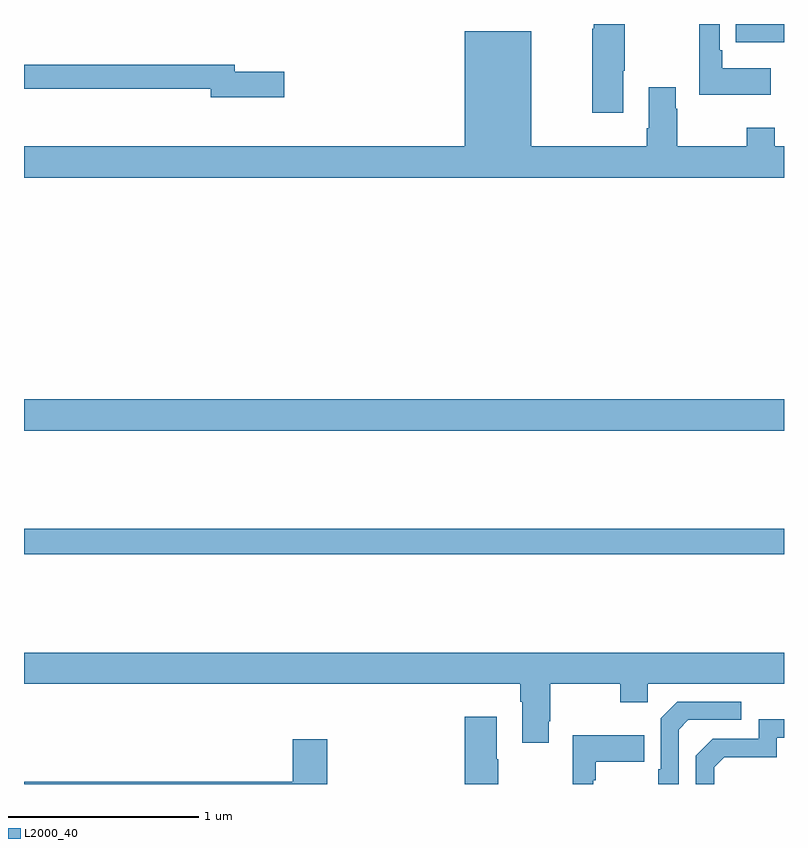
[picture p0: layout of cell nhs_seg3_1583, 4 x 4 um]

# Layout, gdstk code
import gdstk
lib = gdstk.Library(unit=1e-6, precision=1e-09)
def R(c, l, rs):  # rectangles x0, y0, x1, y1
    for r in rs: c.add(gdstk.rectangle(r[:2], r[2:], *l))
def P(c, l, *ps):  # polygons
    for p in ps: c.add(gdstk.Polygon(p, *l))
L2000_40 = (2000, 40)

nhs_seg3_1583 = lib.new_cell('nhs_seg3_1583')
R(nhs_seg3_1583, L2000_40, [(193,689.608,197,689.744), (193,690.26,197,690.424), (196.747,692.303,197,692.4)])
P(nhs_seg3_1583, L2000_40, [(196.931,692.167),(196.675,692.167),(196.675,692.263),(196.662,692.263),(196.662,692.4),(196.554,692.4),(196.554,692.027),(196.931,692.027)],
  [(196.153,692.155),(196.161,692.155),(196.161,692.4),(195.998,692.4),(195.998,692.375),(195.991,692.375),(195.991,691.932),(196.153,691.932)],
  [(197,691.756),(196.95,691.756),(196.95,691.855),(196.804,691.855),(196.804,691.756),(196.437,691.756),(196.437,691.955),(196.429,691.955),(196.429,692.068),(196.289,692.068),(196.289,691.852),(196.277,691.852),(196.277,691.756),(195.67,691.756),(195.67,692.362),(195.32,692.362),(195.32,691.756),(193,691.756),(193,691.592),(197,691.592)],
  [(194.371,692.15),(194.11,692.15),(194.11,692.186),(193,692.186),(193,692.058),(193.982,692.058),(193.982,692.015),(194.371,692.015)],
  [(195.763,688.729),(195.771,688.729),(195.771,688.928),(196.138,688.928),(196.138,688.829),(196.284,688.829),(196.284,688.928),(197,688.928),(197,689.092),(193,689.092),(193,688.928),(195.611,688.928),(195.611,688.832),(195.623,688.832),(195.623,688.617),(195.763,688.617)],
  [(196.446,688.686),(196.497,688.737),(196.774,688.737),(196.774,688.833),(196.437,688.833),(196.35,688.746),(196.35,688.477),(196.338,688.477),(196.338,688.4),(196.446,688.4)],
  [(195.495,688.529),(195.487,688.529),(195.487,688.753),(195.32,688.753),(195.32,688.4),(195.495,688.4)],
  [(196.632,688.488),(196.685,688.541),(196.962,688.541),(196.962,688.644),(197,688.644),(197,688.74),(196.866,688.74),(196.866,688.638),(196.626,688.638),(196.536,688.548),(196.536,688.4),(196.632,688.4)],
  [(195.996,688.421),(196.009,688.421),(196.009,688.517),(196.265,688.517),(196.265,688.657),(195.888,688.657),(195.888,688.4),(195.996,688.4)],
  [(194.597,688.636),(194.414,688.636),(194.414,688.412),(193,688.412),(193,688.4),(194.597,688.4)])

lib.write_gds('nhs_seg3_1583.gds')
